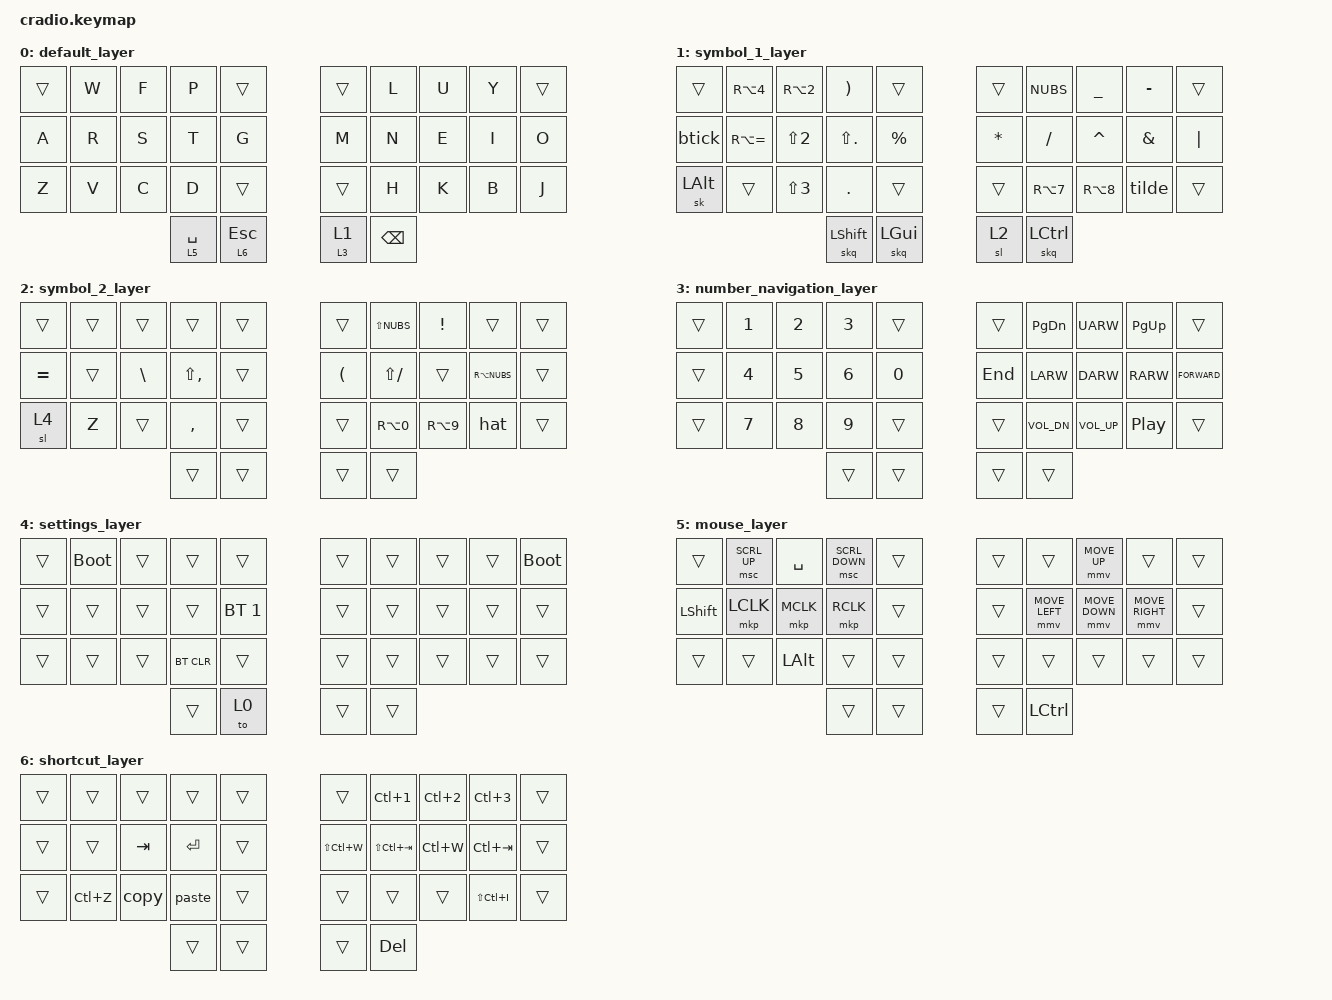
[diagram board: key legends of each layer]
#include <behaviors.dtsi>
#include <behaviors/mouse_keys.dtsi>
#include <dt-bindings/zmk/keys.h>
#include <dt-bindings/zmk/bt.h>
#include <dt-bindings/zmk/mouse.h>

/ {
    input_configs {
        compatible = "zmk,input-configs";
        mmv {
            device = <&mmv>;
            scale-multiplier = <10>;
        };
    };

    behaviors {
        htl: hold_tap_leader {
            label = "leader_hold_tap";
            compatible = "zmk,behavior-hold-tap";
            #binding-cells = <2>; 
            flavor = "tap-preferred"; 
            tapping-term-ms = <200>; 
            bindings = <&mo>, <&sl>; 
        };

        skq: sticky_key_quick_release {
            compatible = "zmk,behavior-sticky-key";
            label = "STICKY_KEY_QUICK_RELEASE";
            #binding-cells = <1>;
            bindings = <&kp>;
            release-after-ms = <1000>;
            quick-release;
            ignore-modifiers;
        };
    };

    macros {
        tilde: tilde {
            label = "macro_tilde";
            compatible = "zmk,behavior-macro";
            #binding-cells = <0>;
            bindings = <&kp RA(RBKT) &kp RA(RBKT)>;
        };
        btick: btick {
            label = "macro_btick";
            compatible = "zmk,behavior-macro";
            #binding-cells = <0>;
            bindings = <&kp PLUS &kp PLUS>;
        };
        hat: hat {
            label = "macro_hat";
            compatible = "zmk,behavior-macro";
            #binding-cells = <0>;
            bindings = <&kp RBRC &kp RBRC>;
        };
        copy: copy {
            label = "macro_copy";
            compatible = "zmk,behavior-macro";
            #binding-cells = <0>;
            bindings = <&kp LC(C)>;
        };
        paste: paste {
            label = "macro_paste";
            compatible = "zmk,behavior-macro";
            #binding-cells = <0>;
            bindings = <&kp LC(V)>;
        };
    };

    combos {
        compatible = "zmk,combos";
        combo_aa {
            timeout-ms = <30>;
            key-positions = <17 18>; 
            layers = <0>;
            bindings = <&kp LBKT>;
        };
        combo_ae {
            timeout-ms = <30>;
            key-positions = <7 8>; 
            layers = <0>;
            bindings = <&kp SEMI>; 
        };
        combo_ao {
            timeout-ms = <30>;
            key-positions = <27 28>; 
            layers = <0>;
            bindings = <&kp SQT>; 
        };
        combo_x {
            timeout-ms = <30>;
            key-positions = <11 12>; 
            layers = <0>;
            bindings = <&kp X>; 
        };
        combo_q {
            timeout-ms = <30>;
            key-positions = <21 22>; 
            layers = <0>;
            bindings = <&kp Q>; 
        };
    };

    keymap {
        compatible = "zmk,keymap";
        default_layer {
            bindings = <
        //╭──────────┬──────────┬──────────┬──────────┬──────────╮   ╭──────────┬──────────┬──────────┬──────────┬──────────╮
            &trans     &kp W      &kp F      &kp P      &trans         &trans     &kp L      &kp U      &kp Y      &trans
        //├──────────┼──────────┼──────────┼──────────┼──────────┤   ├──────────┼──────────┼──────────┼──────────┼──────────┤
            &kp A      &kp R      &kp S      &kp T      &kp G          &kp M      &kp N      &kp E      &kp I      &kp O
        //├──────────┼──────────┼──────────┼──────────┼──────────┤   ├──────────┼──────────┼──────────┼──────────┼──────────┤
            &kp Z      &kp V      &kp C      &kp D      &trans         &trans     &kp H      &kp K      &kp B      &kp J
        //╰──────────┴──────────┴──────────┼──────────┼──────────┤   ├──────────┼──────────┼──────────┴──────────┴──────────╯
                                           &lt 5 SPACE  &lt 6 ESC      &htl 3 1   &kp BSPC
        //                                 ╰──────────┴──────────╯   ╰──────────┴──────────╯
            >;
        };

        symbol_1_layer {
            bindings = <
        //╭──────────┬──────────┬──────────┬──────────┬──────────╮   ╭──────────┬──────────┬──────────┬──────────┬──────────╮
        //│          │  $       │  @       │  =       │          │   │          │  <       │  ?       │  +       │          │
            &trans     &kp RA(N4) &kp RA(N2) &kp RPAR   &trans         &trans     &kp NUBS   &kp UNDER  &kp MINUS  &trans
        //├──────────┼──────────┼──────────┼──────────┼──────────┤   ├──────────┼──────────┼──────────┼──────────┼──────────┤
        //│  `       │  |       │  "       │  :       │  %       │   │  (       │  -       │  &       │  /       │  *       │
            &btick &kp RA(EQUAL)  &kp LS(N2) &kp LS(DOT) &kp PRCNT     &kp ASTRK  &kp FSLH   &kp CARET  &kp AMPS   &kp PIPE
        //├──────────┼──────────┼──────────┼──────────┼──────────┤   ├──────────┼──────────┼──────────┼──────────┼──────────┤
        //│          │          │  #       │  .       │          │   │          │  {       │  [       │  ~       │          │
            &sk LALT   &trans     &kp LS(N3) &kp DOT    &trans         &trans     &kp RA(N7) &kp RA(N8) &tilde     &trans
        //╰──────────┴──────────┴──────────┼──────────┼──────────┤   ├──────────┼──────────┼──────────┴──────────┴──────────╯
                                            &skq LSHIFT &skq LGUI      &sl 2      &skq LCTRL
        //                                 ╰──────────┴──────────╯   ╰──────────┴──────────╯
            >; 
        };

        symbol_2_layer {
            bindings = <
        //╭──────────┬──────────┬──────────┬──────────┬──────────╮   ╭──────────┬──────────┬──────────┬──────────┬──────────╮
        //│          │          │          │          │          │   │          │  >       │  !       │          │          │
            &trans     &trans     &trans     &trans     &trans         &trans   &kp LS(NUBS) &kp EXCL   &trans     &trans
        //├──────────┼──────────┼──────────┼──────────┼──────────┤   ├──────────┼──────────┼──────────┼──────────┼──────────┤
        //│  ´       │          │  '       │  ;       │          │   │  )       │  _       │          │ \        │          │
            &kp EQUAL  &trans     &kp BSLH   &kp LS(COMMA) &trans      &kp LPAR &kp LS(FSLH) &trans    &kp RA(NUBS) &trans
        //├──────────┼──────────┼──────────┼──────────┼──────────┤   ├──────────┼──────────┼──────────┼──────────┼──────────┤
        //│          │          │          │  ,       │          │   │          │  }       │  ]       │  ^       │          │
            &sl 4      &kp Z      &trans     &kp COMMA  &trans         &trans     &kp RA(N0) &kp RA(N9) &hat       &trans
        //╰──────────┴──────────┴──────────┼──────────┼──────────┤   ├──────────┼──────────┼──────────┴──────────┴──────────╯
                                             &trans     &trans         &trans     &trans
        //                                 ╰──────────┴──────────╯   ╰──────────┴──────────╯
            >;
        };

        number_navigation_layer {
            bindings = <
        //╭──────────┬──────────┬──────────┬──────────┬──────────╮   ╭──────────┬──────────┬──────────┬──────────┬──────────╮
        //│          │  1       │  2       │  3       │          │   │          │ PAGE DN  │ UP       │ PAGE UP  │          │ 
            &trans     &kp N1     &kp N2     &kp N3     &trans         &trans     &kp PG_DN  &kp UARW   &kp PG_UP  &trans
        //├──────────┼──────────┼──────────┼──────────┼──────────┤   ├──────────┼──────────┼──────────┼──────────┼──────────┤
        //│          │  4       │  5       │  6       │  0       │   │ END      │ LEFT     │ DOWN     │ RIGHT    │          │
            &trans     &kp N4     &kp N5     &kp N6     &kp N0         &kp END    &kp LARW   &kp DARW   &kp RARW   &kp K_FORWARD
        //├──────────┼──────────┼──────────┼──────────┼──────────┤   ├──────────┼──────────┼──────────┼──────────┼──────────┤
        //│          │  7       │  8       │  9       │          │   │          │ VOl DOWN │ VOL UP   │PLAY PAUSE│          │
            &trans     &kp N7     &kp N8     &kp N9     &trans         &trans  &kp C_VOL_DN &kp C_VOL_UP &kp C_PP  &trans
        //╰──────────┴──────────┴──────────┼──────────┼──────────┤   ├──────────┼──────────┼──────────┴──────────┴──────────╯
                                             &trans     &trans         &trans     &trans
        //                                 ╰──────────┴──────────╯   ╰──────────┴──────────╯
            >;
        };
        
        settings_layer {
            bindings = <
        //╭──────────┬──────────┬──────────┬──────────┬──────────╮   ╭──────────┬──────────┬──────────┬──────────┬──────────╮
        //│          │          │          │          │          │   │          │          │          │          │          │
            &trans    &bootloader &trans     &trans     &trans         &trans     &trans     &trans     &trans    &bootloader
        //├──────────┼──────────┼──────────┼──────────┼──────────┤   ├──────────┼──────────┼──────────┼──────────┼──────────┤
        //│          │          │          │          │PROFILE 1 │   │          │          │          │          │          │
            &trans     &trans     &trans     &trans    &bt BT_SEL 1    &trans     &trans     &trans     &trans     &trans     
        //├──────────┼──────────┼──────────┼──────────┼──────────┤   ├──────────┼──────────┼──────────┼──────────┼──────────┤
        //│          │          │          │          │          │   │          │          │          │          │          │
            &trans     &trans     &trans    &bt BT_CLR  &trans         &trans     &trans     &trans     &trans     &trans
        //╰──────────┴──────────┴──────────┼──────────┼──────────┤   ├──────────┼──────────┼──────────┴──────────┴──────────╯
                                             &trans     &to 0          &trans     &trans
        //                                 ╰──────────┴──────────╯   ╰──────────┴──────────╯
            >;
        };

        mouse_layer {
            bindings = <
        //╭──────────┬──────────┬──────────┬──────────┬──────────╮   ╭──────────┬──────────┬──────────┬──────────┬──────────╮
        //│          │          │          │          │          │   │          │          │          │          │          │
            &trans    &msc SCRL_UP &kp SPACE &msc SCRL_DOWN &trans     &trans     &trans   &mmv MOVE_UP &trans     &trans
        //├──────────┼──────────┼──────────┼──────────┼──────────┤   ├──────────┼──────────┼──────────┼──────────┼──────────┤
        //│          │          │          │          │          │   │          │          │          │          │          │
            &kp LSHIFT &mkp LCLK  &mkp MCLK  &mkp RCLK  &trans         &trans  &mmv MOVE_LEFT &mmv MOVE_DOWN &mmv MOVE_RIGHT  &trans     
        //├──────────┼──────────┼──────────┼──────────┼──────────┤   ├──────────┼──────────┼──────────┼──────────┼──────────┤
        //│          │          │          │          │          │   │          │          │          │          │          │
            &trans     &trans     &kp LALT   &trans     &trans         &trans     &trans     &trans     &trans     &trans
        //╰──────────┴──────────┴──────────┼──────────┼──────────┤   ├──────────┼──────────┼──────────┴──────────┴──────────╯
                                             &trans     &trans         &trans     &kp LCTRL
        //                                 ╰──────────┴──────────╯   ╰──────────┴──────────╯
            >;
        };

        shortcut_layer {
            bindings = <
        //╭──────────┬──────────┬──────────┬──────────┬──────────╮   ╭──────────┬──────────┬──────────┬──────────┬──────────╮
        //│          │          │          │          │          │   │          │          │          │          │          │
            &trans     &trans     &trans     &trans     &trans         &trans     &kp LC(N1) &kp LC(N2) &kp LC(N3) &trans
        //├──────────┼──────────┼──────────┼──────────┼──────────┤   ├──────────┼──────────┼──────────┼──────────┼──────────┤
        //│          │          │          │          │          │   │          │          │          │          │          │
            &trans     &trans     &kp TAB    &kp ENTER  &trans    &kp LS(LC(W)) &kp LS(LC(TAB)) &kp LC(W) &kp LC(TAB) &trans
        //├──────────┼──────────┼──────────┼──────────┼──────────┤   ├──────────┼──────────┼──────────┼──────────┼──────────┤
        //│          │          │          │          │          │   │          │          │          │          │          │
            &trans     &kp LC(Z)  &copy      &paste     &trans         &trans     &trans     &trans  &kp LS(LC(I)) &trans
        //╰──────────┴──────────┴──────────┼──────────┼──────────┤   ├──────────┼──────────┼──────────┴──────────┴──────────╯
                                             &trans     &trans         &trans     &kp DEL
        //                                 ╰──────────┴──────────╯   ╰──────────┴──────────╯
            >;
        };
    };
};
